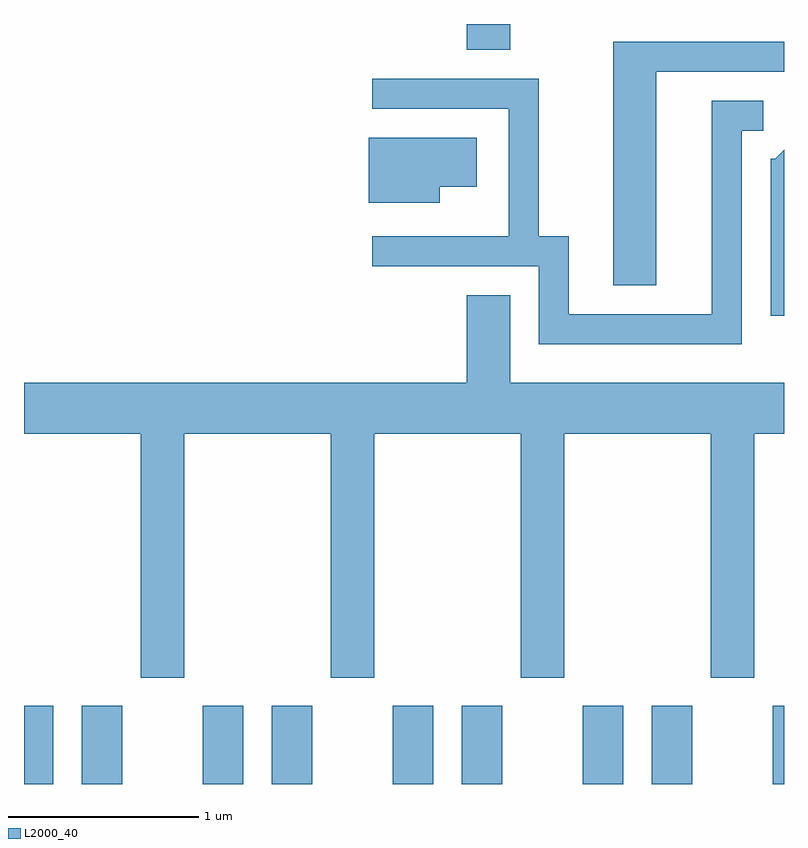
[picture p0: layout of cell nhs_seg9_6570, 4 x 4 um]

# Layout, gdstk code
import gdstk
lib = gdstk.Library(unit=1e-6, precision=1e-09)
def R(c, l, rs):  # rectangles x0, y0, x1, y1
    for r in rs: c.add(gdstk.rectangle(r[:2], r[2:], *l))
def P(c, l, *ps):  # polygons
    for p in ps: c.add(gdstk.Polygon(p, *l))
L2000_40 = (2000, 40)

nhs_seg9_6570 = lib.new_cell('nhs_seg9_6570')
R(nhs_seg9_6570, L2000_40, [(379.611,1974.432,379.764,1974.844), (379.916,1974.432,380.129,1974.844), (380.551,1974.432,380.764,1974.844), (380.916,1974.432,381.129,1974.844), (381.551,1974.432,381.764,1974.844), (381.916,1974.432,382.129,1974.844), (382.551,1974.432,382.764,1974.844), (382.916,1974.432,383.129,1974.844), (383.551,1974.432,383.611,1974.844), (381.941,1978.296,382.169,1978.432)])
P(nhs_seg9_6570, L2000_40, [(382.939,1978.181),(383.611,1978.181),(383.611,1978.339),(382.711,1978.339),(382.711,1977.056),(382.939,1977.056)],
  [(383.389,1977.871),(383.503,1977.871),(383.503,1978.029),(383.231,1978.029),(383.231,1976.904),(382.479,1976.904),(382.479,1977.314),(382.319,1977.314),(382.319,1978.144),(381.443,1978.144),(381.443,1977.986),(382.161,1977.986),(382.161,1977.314),(381.443,1977.314),(381.443,1977.156),(382.321,1977.156),(382.321,1976.746),(383.389,1976.746)],
  [(381.799,1977.576),(381.994,1977.576),(381.994,1977.834),(381.426,1977.834),(381.426,1977.491),(381.799,1977.491)],
  [(383.611,1977.771),(383.564,1977.724),(383.541,1977.724),(383.541,1976.896),(383.611,1976.896)],
  [(380.454,1976.276),(381.226,1976.276),(381.226,1974.991),(381.454,1974.991),(381.454,1976.276),(382.226,1976.276),(382.226,1974.991),(382.454,1974.991),(382.454,1976.276),(383.226,1976.276),(383.226,1974.991),(383.454,1974.991),(383.454,1976.276),(383.611,1976.276),(383.611,1976.544),(382.169,1976.544),(382.169,1977.004),(381.941,1977.004),(381.941,1976.544),(379.611,1976.544),(379.611,1976.276),(380.226,1976.276),(380.226,1974.991),(380.454,1974.991)])

lib.write_gds('nhs_seg9_6570.gds')
